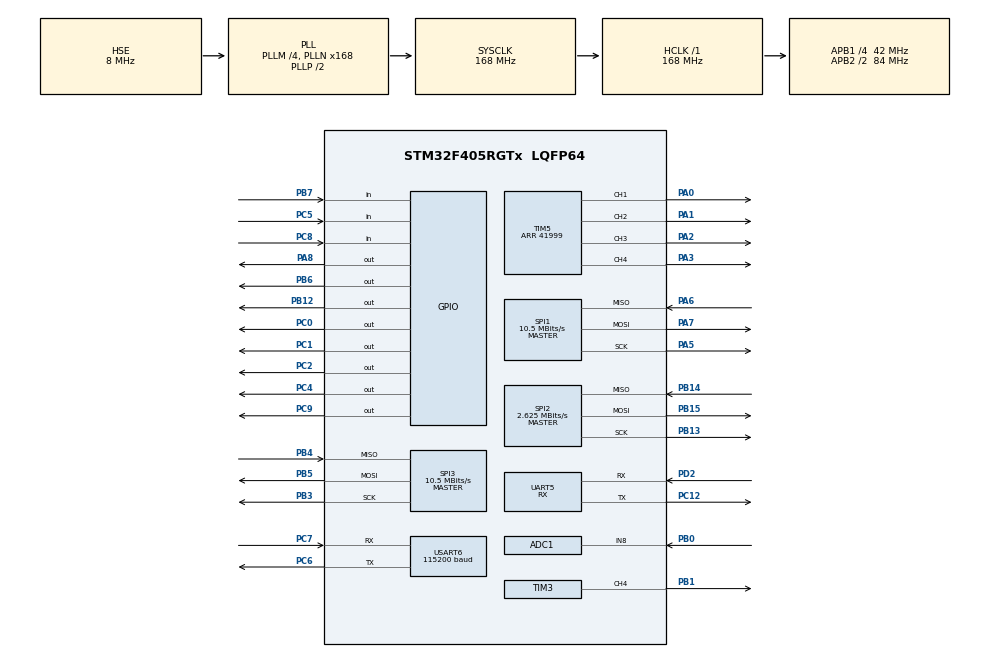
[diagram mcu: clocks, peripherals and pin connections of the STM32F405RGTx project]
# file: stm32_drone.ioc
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ADC1.Channel-0\#ChannelRegularConversion=ADC_CHANNEL_8
ADC1.ClockPrescaler=ADC_CLOCK_SYNC_PCLK_DIV8
ADC1.ContinuousConvMode=ENABLE
ADC1.DMAContinuousRequests=ENABLE
ADC1.InjNumberOfConversion=0
ADC1.NbrOfConversionFlag=1
ADC1.Rank-0\#ChannelRegularConversion=1
ADC1.SamplingTime-0\#ChannelRegularConversion=ADC_SAMPLETIME_480CYCLES
ADC1.master=1
Dma.ADC1.0.Direction=DMA_PERIPH_TO_MEMORY
Dma.ADC1.0.FIFOMode=DMA_FIFOMODE_DISABLE
Dma.ADC1.0.Instance=DMA2_Stream0
Dma.ADC1.0.MemDataAlignment=DMA_MDATAALIGN_HALFWORD
Dma.ADC1.0.MemInc=DMA_MINC_DISABLE
Dma.ADC1.0.Mode=DMA_CIRCULAR
Dma.ADC1.0.PeriphDataAlignment=DMA_PDATAALIGN_HALFWORD
Dma.ADC1.0.PeriphInc=DMA_PINC_DISABLE
Dma.ADC1.0.Priority=DMA_PRIORITY_LOW
Dma.Request0=ADC1
Mcu.Family=STM32F4
Mcu.Name=STM32F405RGTx
Mcu.Package=LQFP64
NVIC.DMA2_Stream0_IRQn=true\:0\:0\:false\:false\:true\:false\:true\:true
NVIC.PriorityGroup=NVIC_PRIORITYGROUP_4
NVIC.TIM7_IRQn=true\:0\:0\:false\:false\:true\:true\:true\:true
NVIC.UART5_IRQn=true\:0\:0\:false\:false\:true\:true\:true\:true
NVIC.USART6_IRQn=true\:0\:0\:false\:false\:true\:true\:true\:true
PA0-WKUP.Signal=S_TIM5_CH1
PA1.Signal=S_TIM5_CH2
PA2.Signal=S_TIM5_CH3
PA3.Signal=S_TIM5_CH4
PA5.Mode=Full_Duplex_Master
PA5.Signal=SPI1_SCK
PA6.Mode=Full_Duplex_Master
PA6.Signal=SPI1_MISO
PA7.Mode=Full_Duplex_Master
PA7.Signal=SPI1_MOSI
PA8.Signal=GPIO_Output
PB0.Signal=ADCx_IN8
PB1.Signal=S_TIM3_CH4
PB12.Signal=GPIO_Output
PB13.Mode=Full_Duplex_Master
PB13.Signal=SPI2_SCK
PB14.Mode=Full_Duplex_Master
PB14.Signal=SPI2_MISO
PB15.Mode=Full_Duplex_Master
PB15.Signal=SPI2_MOSI
PB3.Mode=Full_Duplex_Master
PB3.Signal=SPI3_SCK
PB4.Mode=Full_Duplex_Master
PB4.Signal=SPI3_MISO
PB5.Mode=Full_Duplex_Master
PB5.Signal=SPI3_MOSI
PB6.Signal=GPIO_Output
PB7.Signal=GPIO_Input
PC0.Signal=GPIO_Output
PC1.Signal=GPIO_Output
PC12.Mode=Asynchronous
PC12.Signal=UART5_TX
PC2.Signal=GPIO_Output
PC4.Signal=GPIO_Output
PC5.Signal=GPIO_Input
PC6.Mode=Asynchronous
PC6.Signal=USART6_TX
PC7.Mode=Asynchronous
PC7.Signal=USART6_RX
PC8.Signal=GPIO_Input
PC9.Signal=GPIO_Output
PD2.Mode=Asynchronous
PD2.Signal=UART5_RX
PH0-OSC_IN.Mode=HSE-External-Oscillator
PH0-OSC_IN.Signal=RCC_OSC_IN
PH1-OSC_OUT.Mode=HSE-External-Oscillator
PH1-OSC_OUT.Signal=RCC_OSC_OUT
ProjectManager.HeapSize=0x200
ProjectManager.StackSize=0x400
ProjectManager.TargetToolchain=STM32CubeIDE
RCC.48MHZClocksFreq_Value=84000000
RCC.AHBFreq_Value=168000000
RCC.APB1CLKDivider=RCC_HCLK_DIV4
RCC.APB1Freq_Value=42000000
RCC.APB1TimFreq_Value=84000000
RCC.APB2CLKDivider=RCC_HCLK_DIV2
RCC.APB2Freq_Value=84000000
RCC.APB2TimFreq_Value=168000000
RCC.CortexFreq_Value=168000000
RCC.HCLKFreq_Value=168000000
RCC.HSE_VALUE=8000000
RCC.HSI_VALUE=16000000
RCC.LSE_VALUE=32768
RCC.PLLM=4
RCC.PLLN=168
RCC.PLLSourceVirtual=RCC_PLLSOURCE_HSE
RCC.SYSCLKFreq_VALUE=168000000
RCC.SYSCLKSource=RCC_SYSCLKSOURCE_PLLCLK
RCC.VCOOutputFreq_Value=336000000
SH.ADCx_IN8.0=ADC1_IN8,IN8
SH.S_TIM3_CH4.0=TIM3_CH4,PWM Generation4 CH4
SH.S_TIM5_CH1.0=TIM5_CH1,PWM Generation1 CH1
SH.S_TIM5_CH2.0=TIM5_CH2,PWM Generation2 CH2
SH.S_TIM5_CH3.0=TIM5_CH3,PWM Generation3 CH3
SH.S_TIM5_CH4.0=TIM5_CH4,PWM Generation4 CH4
SPI1.BaudRatePrescaler=SPI_BAUDRATEPRESCALER_8
SPI1.CLKPhase=SPI_PHASE_2EDGE
SPI1.CLKPolarity=SPI_POLARITY_HIGH
SPI1.CalculateBaudRate=10.5 MBits/s
SPI1.Direction=SPI_DIRECTION_2LINES
SPI1.Mode=SPI_MODE_MASTER
SPI1.VirtualType=VM_MASTER
SPI2.BaudRatePrescaler=SPI_BAUDRATEPRESCALER_16
SPI2.CLKPhase=SPI_PHASE_2EDGE
SPI2.CLKPolarity=SPI_POLARITY_HIGH
SPI2.CalculateBaudRate=2.625 MBits/s
SPI2.Direction=SPI_DIRECTION_2LINES
SPI2.Mode=SPI_MODE_MASTER
SPI2.VirtualType=VM_MASTER
SPI3.BaudRatePrescaler=SPI_BAUDRATEPRESCALER_4
SPI3.CLKPhase=SPI_PHASE_2EDGE
SPI3.CLKPolarity=SPI_POLARITY_HIGH
SPI3.CalculateBaudRate=10.5 MBits/s
SPI3.Direction=SPI_DIRECTION_2LINES
SPI3.Mode=SPI_MODE_MASTER
SPI3.VirtualType=VM_MASTER
TIM3.AutoReloadPreload=TIM_AUTORELOAD_PRELOAD_ENABLE
TIM3.Channel-PWM\ Generation4\ CH4=TIM_CHANNEL_4
TIM3.OCFastMode_PWM-PWM\ Generation4\ CH4=TIM_OCFAST_ENABLE
TIM3.Period=20
TIM3.Prescaler=999
TIM3.Pulse-PWM\ Generation4\ CH4=10
TIM5.AutoReloadPreload=TIM_AUTORELOAD_PRELOAD_ENABLE
TIM5.Channel-PWM\ Generation1\ CH1=TIM_CHANNEL_1
TIM5.Channel-PWM\ Generation2\ CH2=TIM_CHANNEL_2
TIM5.Channel-PWM\ Generation3\ CH3=TIM_CHANNEL_3
TIM5.Channel-PWM\ Generation4\ CH4=TIM_CHANNEL_4
TIM5.OCFastMode_PWM-PWM\ Generation1\ CH1=TIM_OCFAST_ENABLE
TIM5.OCFastMode_PWM-PWM\ Generation2\ CH2=TIM_OCFAST_ENABLE
TIM5.OCFastMode_PWM-PWM\ Generation3\ CH3=TIM_OCFAST_ENABLE
TIM5.OCFastMode_PWM-PWM\ Generation4\ CH4=TIM_OCFAST_ENABLE
TIM5.Period=41999
TIM5.Pulse-PWM\ Generation1\ CH1=0
TIM5.Pulse-PWM\ Generation2\ CH2=0
TIM5.Pulse-PWM\ Generation3\ CH3=0
TIM7.AutoReloadPreload=TIM_AUTORELOAD_PRELOAD_ENABLE
TIM7.Period=1
TIM7.Prescaler=41999
UART5.Mode=MODE_RX
UART5.VirtualMode=Asynchronous
USART6.BaudRate=115200
USART6.VirtualMode=VM_ASYNC
VP_TIM3_VS_ClockSourceINT.Mode=Internal
VP_TIM5_VS_ClockSourceINT.Mode=Internal
VP_TIM7_VS_ClockSourceINT.Mode=Enable_Timer
board=custom

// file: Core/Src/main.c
/* USER CODE BEGIN Header */
/**
  ******************************************************************************
  * @file           : main.c
  * @brief          : Main program body
  ******************************************************************************
  * @attention
  *
  * Copyright (c) 2025 STMicroelectronics.
  * All rights reserved.
  *
  * This software is licensed under terms that can be found in the LICENSE file
  * in the root directory of this software component.
  * If no LICENSE file comes with this software, it is provided AS-IS.
  *
  ******************************************************************************
  */
/* USER CODE END Header */
#include "main.h"
#include "adc.h"
#include "dma.h"
#include "spi.h"
#include "tim.h"
#include "usart.h"
#include "gpio.h"

/* USER CODE BEGIN Includes */
#include <stdio.h>
#include "BNO080.h"
#include "Quaternion.h"
#include "ICM20602.h"
#include "LPS22HH.h"
#include "FS-iA6B.h"
#include "PID control.h"
/* USER CODE END Includes */

/* USER CODE BEGIN PTD */

//implement _write function so that printf will work
//takes the pointer location for the first char in the string to print
int _write(int file, char* p, int len)
{
	for (int i = 0; i < len; i++)
	{
		// Wait until transmit data register is empty
		while (!LL_USART_IsActiveFlag_TXE(USART6)) {}
		//adds to the initial pointer location for every char in string
		LL_USART_TransmitData8(USART6, *(p+i));
//		HAL_Delay(1);
	}
	return len;
}

/* USER CODE END PTD */

/* USER CODE BEGIN PD */

#define ADC_COUNTS_TO_VOLTS (3.3f/4096)
#define ADC_VOLTAGE_DIVIDER 4.49f

/* USER CODE END PD */

/* USER CODE BEGIN PV */

//	flag to know if we've got data - initialized in stm32f4xx_it.c
extern uint8_t uart6_rx_flag;
//	variable to store the received data
extern uint8_t uart6_rx_data;

extern uint8_t ibus_rx_buf[32];//ibus message buffer
extern uint8_t ibus_rx_cplt_flag; //full message received flag

extern uint8_t tim7_1ms_flag;
extern uint8_t tim7_1000ms_flag;

unsigned char failsafe_flag = 0;

/* USER CODE END PV */

void SystemClock_Config(void);
/* USER CODE BEGIN PFP */
int is_iBus_throttle_min(void);
void ESC_calibration(void);
int is_iBus_received(void);
void BNO080_Calibration(void);
/* USER CODE END PFP */

int main(void)
{

  /* USER CODE BEGIN 1 */
  float q[4];
  float quatRadianAccuracy;
  unsigned short ccr1, ccr2, ccr3, ccr4;

  float yaw_heading_reference;

  unsigned char motor_arming_flag = 0;
  unsigned short iBus_SwA_Prev = 0;
  unsigned char iBus_rx_cnt = 0;
  volatile unsigned short adc_val_raw;
  float battery_volt;

  /* USER CODE END 1 */

  /* MCU Configuration--------------------------------------------------------*/

  /* Reset of all peripherals, Initializes the Flash interface and the Systick. */
  HAL_Init();

  /* Configure the system clock */
  SystemClock_Config();

  /* Initialize all configured peripherals */
  MX_GPIO_Init();
  MX_DMA_Init();
  MX_TIM3_Init();
  MX_USART6_UART_Init();
  MX_SPI2_Init();
  MX_SPI1_Init();
  MX_SPI3_Init();
  MX_UART5_Init();
  MX_TIM5_Init();
  MX_TIM7_Init();
  MX_ADC1_Init();
  /* USER CODE BEGIN 2 */

  //10 second delay to give time to setup logic analyzer
//  	HAL_Delay(10000);

  LL_TIM_EnableCounter(TIM5);
  LL_TIM_CC_EnableChannel(TIM5, LL_TIM_CHANNEL_CH1);
  LL_TIM_CC_EnableChannel(TIM5, LL_TIM_CHANNEL_CH2);
  LL_TIM_CC_EnableChannel(TIM5, LL_TIM_CHANNEL_CH3);
  LL_TIM_CC_EnableChannel(TIM5, LL_TIM_CHANNEL_CH4);

  /* USER CODE END 2 */

  /* Infinite loop */
  while (1)
  {

    /* USER CODE BEGIN 3 */

	  /********************************************************************/

	  //test pwm output
	  //PWM frequency is at 2KHz ie period is 500us

	  //10500 creates a high pulse for 125us
		TIM5->CCR1 = 10500;
		TIM5->CCR2 = 10500;
		TIM5->CCR3 = 10500;
		TIM5->CCR4 = 10500;
		HAL_Delay(0); //hal_delay has a adds 1ms to the wait to ensure minimum wait time, so delay of 0 will hopefully produce of wait of 1ms
		//12600 creates a high pulse for 150us
		TIM5->CCR1 = 12600;
		TIM5->CCR2 = 12600;
		TIM5->CCR3 = 12600;
		TIM5->CCR4 = 12600;
		HAL_Delay(0);
		//14700 creates a high pulse for 175us
		TIM5->CCR1 = 14700;
		TIM5->CCR2 = 14700;
		TIM5->CCR3 = 14700;
		TIM5->CCR4 = 14700;
		HAL_Delay(0);
		//16800 creates a high pulse for 200us
		TIM5->CCR1 = 16800;
		TIM5->CCR2 = 16800;
		TIM5->CCR3 = 16800;
		TIM5->CCR4 = 16800;
		HAL_Delay(0);
		//18900 creates a high pulse for 225us
		TIM5->CCR1 = 18900;
		TIM5->CCR2 = 18900;
		TIM5->CCR3 = 18900;
		TIM5->CCR4 = 18900;
		HAL_Delay(0);
		//21000 creates a high pulse for 250us
		TIM5->CCR1 = 21000;
		TIM5->CCR2 = 21000;
		TIM5->CCR3 = 21000;
		TIM5->CCR4 = 21000;
		HAL_Delay(0);

/********************************************************************/

  }
  /* USER CODE END 3 */
}

void SystemClock_Config(void)
{
  RCC_OscInitTypeDef RCC_OscInitStruct = {0};
  RCC_ClkInitTypeDef RCC_ClkInitStruct = {0};

  /** Configure the main internal regulator output voltage
  */
  __HAL_RCC_PWR_CLK_ENABLE();
  __HAL_PWR_VOLTAGESCALING_CONFIG(PWR_REGULATOR_VOLTAGE_SCALE1);

  /** Initializes the RCC Oscillators according to the specified parameters
  * in the RCC_OscInitTypeDef structure.
  */
  RCC_OscInitStruct.OscillatorType = RCC_OSCILLATORTYPE_HSE;
  RCC_OscInitStruct.HSEState = RCC_HSE_ON;
  RCC_OscInitStruct.PLL.PLLState = RCC_PLL_ON;
  RCC_OscInitStruct.PLL.PLLSource = RCC_PLLSOURCE_HSE;
  RCC_OscInitStruct.PLL.PLLM = 4;
  RCC_OscInitStruct.PLL.PLLN = 168;
  RCC_OscInitStruct.PLL.PLLP = RCC_PLLP_DIV2;
  RCC_OscInitStruct.PLL.PLLQ = 4;
  if (HAL_RCC_OscConfig(&RCC_OscInitStruct) != HAL_OK)
  {
    Error_Handler();
  }

  /** Initializes the CPU, AHB and APB buses clocks
  */
  RCC_ClkInitStruct.ClockType = RCC_CLOCKTYPE_HCLK|RCC_CLOCKTYPE_SYSCLK
                              |RCC_CLOCKTYPE_PCLK1|RCC_CLOCKTYPE_PCLK2;
  RCC_ClkInitStruct.SYSCLKSource = RCC_SYSCLKSOURCE_PLLCLK;
  RCC_ClkInitStruct.AHBCLKDivider = RCC_SYSCLK_DIV1;
  RCC_ClkInitStruct.APB1CLKDivider = RCC_HCLK_DIV4;
  RCC_ClkInitStruct.APB2CLKDivider = RCC_HCLK_DIV2;

  if (HAL_RCC_ClockConfig(&RCC_ClkInitStruct, FLASH_LATENCY_5) != HAL_OK)
  {
    Error_Handler();
  }
}

/* USER CODE BEGIN 4 */

int is_iBus_throttle_min(void)
{
	//radio transmitter receiving and parsing
	if (ibus_rx_cplt_flag == 1) //if we have a full message
	{
		ibus_rx_cplt_flag = 0; //reset flag
		if (ibus_Check_CHKSUM(&ibus_rx_buf[0], 32) == 1)
		{
			iBus_Parsing(&ibus_rx_buf[0], &iBus);
			//check if throttle is at minimum
			if (iBus.LV < 1010) //use 1010 since some throttle baselines have a bit extra
			{
				return 1;
			}
		}
	}
	return 0;
}

void ESC_calibration(void)
{
	//esc calibration
	//set PWM to max width for 7 seconds
	TIM5->CCR1 = 21000;
	TIM5->CCR2 = 21000;
	TIM5->CCR3 = 21000;
	TIM5->CCR4 = 21000;
	HAL_Delay(7000);
	//set PWM to min width for 8 seconds
	TIM5->CCR1 = 10500;
	TIM5->CCR2 = 10500;
	TIM5->CCR3 = 10500;
	TIM5->CCR4 = 10500;
	HAL_Delay(8000);
}

int is_iBus_received(void)
{
	//radio transmitter receiving and parsing
	if (ibus_rx_cplt_flag == 1) //if we have a full message
	{
		ibus_rx_cplt_flag = 0; //reset flag
		if (ibus_Check_CHKSUM(&ibus_rx_buf[0], 32) == 1)
		{
			iBus_Parsing(&ibus_rx_buf[0], &iBus);
			return 1;
		}
	}
	return 0;
}

void BNO080_Calibration(void)
{
	//Resets BNO080 to disable All output
	BNO080_Initialization();

	//BNO080/BNO085 Configuration
	//Enable dynamic calibration for accelerometer, gyroscope, and magnetometer
	//Enable Game Rotation Vector output
	//Enable Magnetic Field output
	BNO080_calibrateAll(); //Turn on cal for Accel, Gyro, and Mag
	BNO080_enableGameRotationVector(20000); //Send data update every 20ms (50Hz)
	BNO080_enableMagnetometer(20000); //Send data update every 20ms (50Hz)

	//Once magnetic field is 2 or 3, run the Save DCD Now command
  	printf("Calibrating BNO080. Pull up FS-i6 SWC to end calibration and save to flash\n");
  	printf("Output in form x, y, z, in uTesla\n\n");

	//while loop for calibration procedure
	//Iterates until iBus.SwC is mid point (1500)
	//Calibration procedure should be done while this loop is in iteration.
	while(iBus.SwC == 1500)
	{
		if(BNO080_dataAvailable() == 1)
		{
			//Observing the status bit of the magnetic field output
			float x = BNO080_getMagX();
			float y = BNO080_getMagY();
			float z = BNO080_getMagZ();
			unsigned char accuracy = BNO080_getMagAccuracy();

			float quatI = BNO080_getQuatI();
			float quatJ = BNO080_getQuatJ();
			float quatK = BNO080_getQuatK();
			float quatReal = BNO080_getQuatReal();
			unsigned char sensorAccuracy = BNO080_getQuatAccuracy();

			printf("%f,%f,%f,", x, y, z);
			if (accuracy == 0) printf("Unreliable\t");
			else if (accuracy == 1) printf("Low\t");
			else if (accuracy == 2) printf("Medium\t");
			else if (accuracy == 3) printf("High\t");

			printf("\t%f,%f,%f,%f,", quatI, quatI, quatI, quatReal);
			if (sensorAccuracy == 0) printf("Unreliable\n");
			else if (sensorAccuracy == 1) printf("Low\n");
			else if (sensorAccuracy == 2) printf("Medium\n");
			else if (sensorAccuracy == 3) printf("High\n");

			//Turn the LED and buzzer on when both accuracy and sensorAccuracy is high
			if(accuracy == 3 && sensorAccuracy == 3)
			{
				LL_GPIO_SetOutputPin(GPIOC, LL_GPIO_PIN_0 | LL_GPIO_PIN_1 | LL_GPIO_PIN_2);
				TIM3->PSC = 65000; //Very low frequency
				LL_TIM_CC_EnableChannel(TIM3, LL_TIM_CHANNEL_CH4);
			}
			else
			{
				LL_GPIO_ResetOutputPin(GPIOC, LL_GPIO_PIN_0 | LL_GPIO_PIN_1 | LL_GPIO_PIN_2);
				LL_TIM_CC_DisableChannel(TIM3, LL_TIM_CHANNEL_CH4);
			}
		}

		is_iBus_received(); //Refreshes iBus Data for iBus.SwC
		HAL_Delay(100);
	}

	//Ends the loop when iBus.SwC is not mid point
	//Turn the LED and buzzer off
	LL_GPIO_ResetOutputPin(GPIOC, LL_GPIO_PIN_0 | LL_GPIO_PIN_1 | LL_GPIO_PIN_2);
	LL_TIM_CC_DisableChannel(TIM3, LL_TIM_CHANNEL_CH4);

	//Saves the current dynamic calibration data (DCD) to memory
	//Sends command to get the latest calibration status
	BNO080_saveCalibration();
	BNO080_requestCalibrationStatus();

	//Wait for calibration response, timeout if no response
	int counter = 100;
	while(1)
	{
		if(--counter == 0) break;
		if(BNO080_dataAvailable())
		{
			//The IMU can report many different things. We must wait
			//for the ME Calibration Response Status byte to go to zero
			if(BNO080_calibrationComplete() == 1)
			{
				printf("\nCalibration data successfully stored\n");
				LL_TIM_CC_EnableChannel(TIM3, LL_TIM_CHANNEL_CH4);
				TIM3->PSC = 2000;
				HAL_Delay(300);
				TIM3->PSC = 1500;
				HAL_Delay(300);
				LL_TIM_CC_DisableChannel(TIM3, LL_TIM_CHANNEL_CH4);
				HAL_Delay(1000);
				break;
			}
		}
		HAL_Delay(10);
	}
	if(counter == 0)
	{
		printf("\nCalibration data failed to store. Please try again.\n");
		LL_TIM_CC_EnableChannel(TIM3, LL_TIM_CHANNEL_CH4);
		TIM3->PSC = 1500;
		HAL_Delay(300);
		TIM3->PSC = 2000;
		HAL_Delay(300);
		LL_TIM_CC_DisableChannel(TIM3, LL_TIM_CHANNEL_CH4);
		HAL_Delay(1000);
	}

	//BNO080_endCalibration(); //Turns off all calibration
	//In general, calibration should be left on at all times. The BNO080
	//auto-calibrates and auto-records cal data roughly every 5 minutes

	//Resets BNO080 to disable Game Rotation Vector and Magnetometer
	//Enables Rotation Vector
	BNO080_Initialization();
//	BNO080_enableRotationVector(2500); //Send data update every 2.5ms (400Hz)
	BNO080_enableGameRotationVector(2500);
}

/* USER CODE END 4 */

void Error_Handler(void)
{
  __disable_irq();
  while (1)
  {
  }
}
